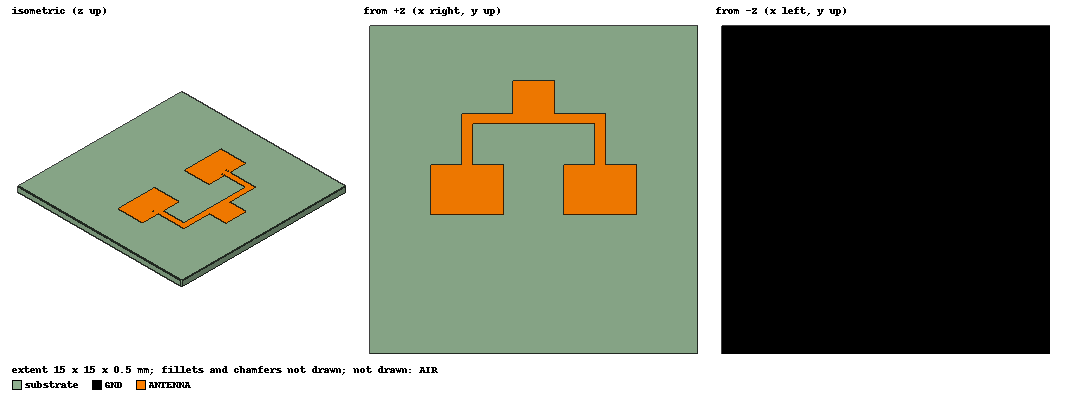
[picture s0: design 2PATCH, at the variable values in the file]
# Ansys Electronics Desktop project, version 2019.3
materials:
  vacuum: permittivity=1
  Arlon 25N (tm): permittivity=3.38 dielectric_loss_tangent=0.0025
  Isola IS680-280: permittivity=2.8 dielectric_loss_tangent=0.0025
  air: permittivity=1.0006 permeability=1.0000004

design 2PATCH (HFSS, DrivenModal, model units mm)
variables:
  subx = 15mm
  suby = 15mm
  subh = 0.5mm
  WT = Wf
  xp1 = SubX/3-Wp/2
  yc = (SubY/3)+Lp/2+(Lline)
  xp2 = xp1+2.72mm+Wp
  yp1 = SubY/3-Lp/2
  Wo = 1.876mm
  Wp = 3.37mm
  L = Lt
  yp2 = SubY/3-Lp/2
  Lline = SubY/3 - Lp
  Lp = 2.27mm
  LT = (1.876/2) mm
  x_spacing = 2.72mm
  Y_up = Lp/2
  Wf = 0.48mm
  Lf = 1.865mm  # optimise 0.9325mm..2.7975mm
  Depth = 0.5691mm
  qw = 2.7mm
  s = 0.483mm
  Linput = 1.5mm  # optimise 0.75mm..2.25mm
  Slit_width = 0.018mm
  W0 = 1.876mm
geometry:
  GND = rectangle(corner=(-subx/2, -suby/2, 0), x_size=subx, y_size=suby)
  substrate [Isola IS680-280] = box(corner=(-subx/2, -suby/2, 0mm), size=(subx, suby, subh))
  ANTENNA = rectangle(corner=(-x_spacing/2-Wp, -Y_up, subh), x_size=Wp, y_size=Lp)
  Patch2 = rectangle(corner=(x_spacing/2, -Y_up, subh), x_size=Wp, y_size=Lp)
  coordinate_system RelativeCS1 = origin=(-x_spacing/2-wp/2, 0mm, subh) x=(1mm, 0mm, 0mm) y=(0mm, 1mm, 0mm)
  Patch1_feed = rectangle(corner=(-Wf/2, Lp/2, 0), x_size=Wf, y_size=Lf) in RelativeCS1
  coordinate_system RelativeCS2 = origin=(x_spacing+Wp, 0mm, 0) x=(-1mm, 0mm, 0mm) y=(0mm, 1mm, 0mm) in RelativeCS1
  Patch2_feed = rectangle(corner=(-Wf/2, Lp/2, 0), x_size=Wf, y_size=Lf) in RelativeCS2
  Wtrans1 = rectangle(corner=(-Wf/2, Lp/2+Lf, 0mm), x_size=Wp/2+x_spacing/2+Wf/2, y_size=Wt) in RelativeCS1
  Wtrans2 = rectangle(corner=(-Wf/2, Lp/2+Lf, 0mm), x_size=Wp/2+x_spacing/2+Wf/2, y_size=Wt) in RelativeCS2
  Input = rectangle(corner=(-Wo/2, Lp/2+Lf+WT, subh), x_size=Wo, y_size=Linput)
  ANTENNA.unite(Patch1_feed, Wtrans1)
  Patch2.unite(Patch2_feed, Wtrans2)
  inset_1_1 = rectangle(corner=(wf/2, lp/2-depth, 0mm), x_size=Slit_width, y_size=Depth) in RelativeCS1
  inset_1_2 = rectangle(corner=(-wf/2-Slit_width, lp/2-depth, 0mm), x_size=Slit_width, y_size=Depth) in RelativeCS1
  inset_2_1 = rectangle(corner=(wf/2, lp/2-depth, 0mm), x_size=Slit_width, y_size=Depth) in RelativeCS2
  inset_2_2 = rectangle(corner=(-wf/2-Slit_width, lp/2-depth, 0mm), x_size=Slit_width, y_size=Depth) in RelativeCS2
  ANTENNA.subtract(inset_1_1, inset_1_2)
  Patch2.subtract(inset_2_1, inset_2_2)
  AIR [air] = box(corner=(-subx/2, -suby/2, subh), size=(subx, suby, qw))
  ANTENNA.unite(Patch2)
  Source = rectangle(corner=(-wo/2, Linput+WT+Lf+lp/2, subh), z_size=-subh, x_size=wo)
  ANTENNA.unite(Input)
  ANTENNA.chamfer(Vertices=ANTENNA.vertex(3 of 4, 1 of 4, 3 of 4, 1 of 4) LeftDistance=s RightDistance=s ChamferType=Symmetric)
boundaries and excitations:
  PerfE1: Perfect E Objects=ANTENNA
  PerfE2: Perfect E Objects=GND
  Rad2: Radiation Faces=AIR.face(+z, -y, -x, +y, +x)
  1: Lumped Port Objects=Source Modes{Mode1{IntLine{middle of Source.edge(z opposite corner) -> middle of Source.edge(z at corner)} CharImp=Zpi RenormImp=50ohm}} Impedance=50ohm
  reference conductors: GND
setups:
  Setup1: HfssDriven Frequency=30GHz MaxDeltaS=0.02 MaximumPasses=10 MinimumPasses=1 MinimumConvergedPasses=1 PercentRefinement=30 BasisOrder=1 PortAccuracy=2
    sweep Sweep: 20GHz to 40GHz, 401 points; Type=Interpolating SaveFields InterpTolerance=0.5 InterpMaxSolns=250 InterpUsePortImped=false PassivityErrorTolerance=0.0001
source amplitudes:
  1:1: 1W 0deg
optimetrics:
  OptimizationSetup1: Optimization Optimizer="Quasi Newton" AnalysisStopOptions{StopForNumIteration MaxNumIteration=1000 MinNumIteration=10} CostFuncNormType=L2 Acceptable_Cost=0 Noise=0.0001 UpdateDesignWhenDone
    goal dB(S(1,1)) Minimize 0 weight 1 on Setup1 : Sweep at Freq 30GHz
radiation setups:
  Infinite Sphere2: Infinite Sphere Theta=0deg..180deg step 2deg Phi=0deg..360deg step 2deg
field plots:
  Vector_E1: E Field over ANTENNA.face(at (-3.045, 0, 0.5)) on Setup1 : LastAdaptive at Freq=30GHz Phase=0deg
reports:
  S Parameter Plot 2: dB(S(1,1)) vs Freq on Setup1 : Sweep; markers m1 at 33.7GHz
  rE Plot 1: rETotal vs Phi, Theta on Setup1 : LastAdaptive, Infinite Sphere2 [Freq=30GHz]
  Gain Plot 1: GainTotal vs Phi, Theta on Setup1 : LastAdaptive, Infinite Sphere2 [Freq=30GHz]
  Axial Ratio Plot 1: mag(AxialRatioValue) vs Phi, Theta on Setup1 : LastAdaptive, Infinite Sphere2 [Freq=30GHz]
  Polarization Ratio Plot 1: mag(PolarizationRatioCircularLHCP), mag(PolarizationRatioCircularRHCP) vs Phi, Theta on Setup1 : LastAdaptive, Infinite Sphere2 [Freq=30GHz]
  S Parameter Plot 3:
  S Parameter Plot 4: dB(S(1,1)) vs Freq on Setup1 : Sweep
